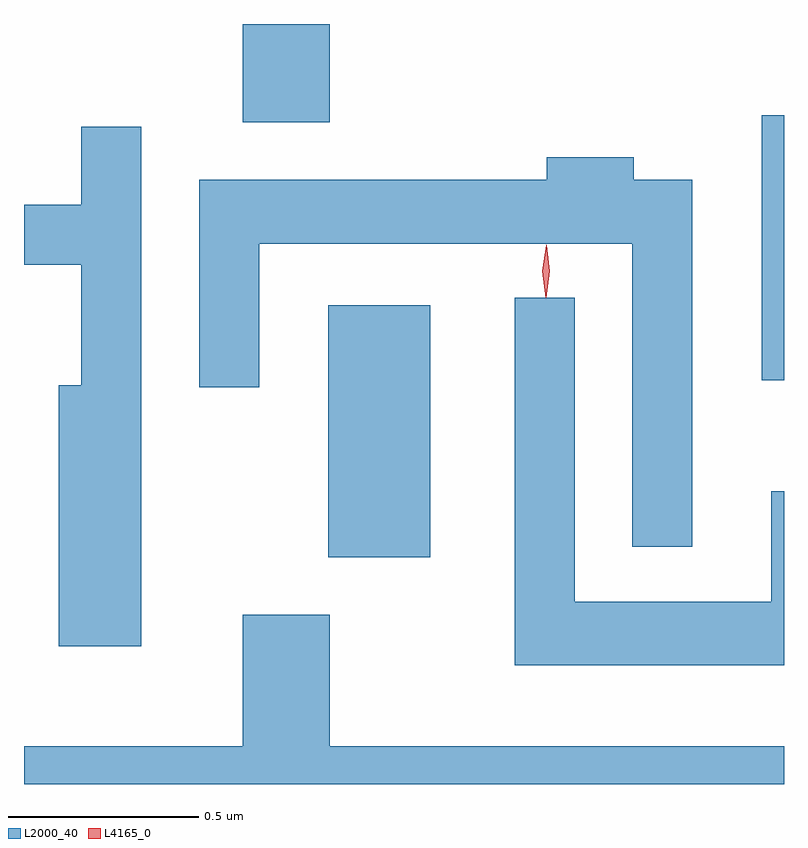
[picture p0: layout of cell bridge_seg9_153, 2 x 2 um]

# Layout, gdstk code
import gdstk
lib = gdstk.Library(unit=1e-6, precision=1e-09)
def R(c, l, rs):  # rectangles x0, y0, x1, y1
    for r in rs: c.add(gdstk.rectangle(r[:2], r[2:], *l))
def P(c, l, *ps):  # polygons
    for p in ps: c.add(gdstk.Polygon(p, *l))
L2000_40 = (2000, 40)
L4165_0 = (4165, 0)

bridge_seg9_153 = lib.new_cell('bridge_seg9_153')
R(bridge_seg9_153, L2000_40, [(1376.326,2079.161,1376.594,2079.824), (1377.466,2079.626,1377.525,2080.324), (1376.101,2080.306,1376.329,2080.564)])
P(bridge_seg9_153, L2000_40, [(1375.834,2080.293),(1375.676,2080.293),(1375.676,2080.089),(1375.525,2080.089),(1375.525,2079.931),(1375.676,2079.931),(1375.676,2079.614),(1375.616,2079.614),(1375.616,2078.926),(1375.834,2078.926)],
  [(1377.284,2080.154),(1377.129,2080.154),(1377.129,2080.214),(1376.901,2080.214),(1376.901,2080.154),(1375.986,2080.154),(1375.986,2079.608),(1376.144,2079.608),(1376.144,2079.986),(1377.126,2079.986),(1377.126,2079.188),(1377.284,2079.188)],
  [(1377.525,2079.334),(1377.491,2079.334),(1377.491,2079.044),(1376.974,2079.044),(1376.974,2079.843),(1376.816,2079.843),(1376.816,2078.876),(1377.525,2078.876)],
  [(1377.525,2078.664),(1376.329,2078.664),(1376.329,2079.009),(1376.101,2079.009),(1376.101,2078.664),(1375.525,2078.664),(1375.525,2078.564),(1377.525,2078.564)])
P(bridge_seg9_153, L4165_0, [(1376.899,2079.843),(1376.898,2079.844),(1376.889,2079.913),(1376.899,2079.982),(1376.899,2079.983),(1376.9,2079.982),(1376.909,2079.913),(1376.899,2079.844)])

lib.write_gds('bridge_seg9_153.gds')
